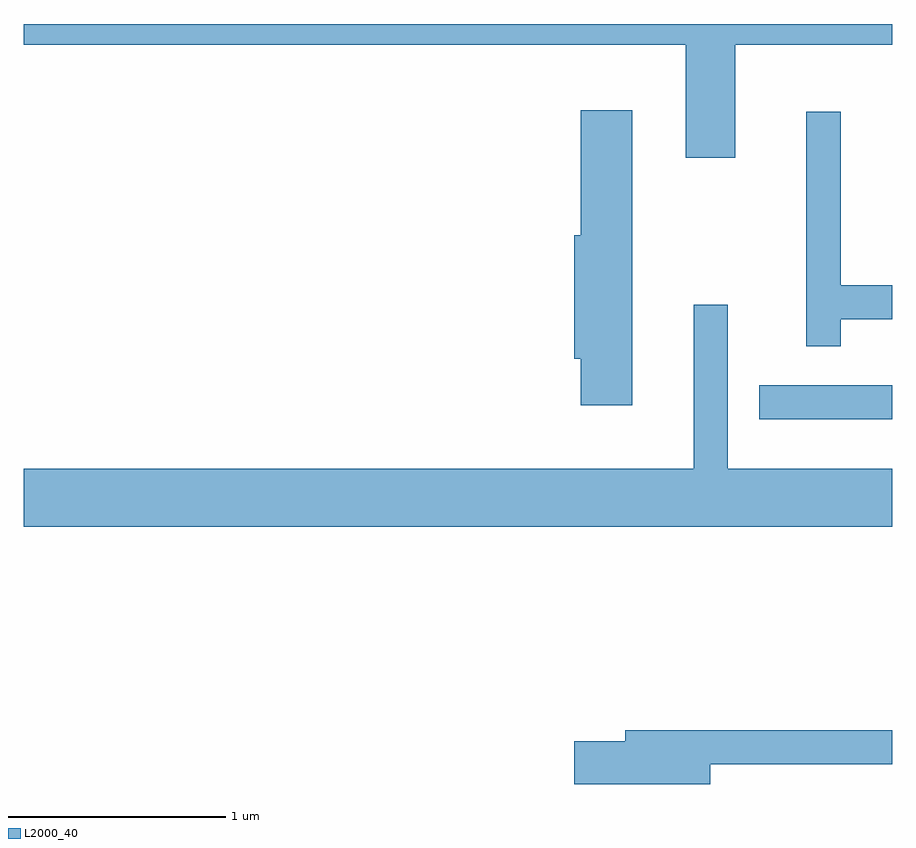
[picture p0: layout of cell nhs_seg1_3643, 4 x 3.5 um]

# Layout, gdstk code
import gdstk
lib = gdstk.Library(unit=1e-6, precision=1e-09)
def R(c, l, rs):  # rectangles x0, y0, x1, y1
    for r in rs: c.add(gdstk.rectangle(r[:2], r[2:], *l))
def P(c, l, *ps):  # polygons
    for p in ps: c.add(gdstk.Polygon(p, *l))
L2000_40 = (2000, 40)

nhs_seg1_3643 = lib.new_cell('nhs_seg1_3643')
R(nhs_seg1_3643, L2000_40, [(298.998,857.891,299.611,858.049)])
P(nhs_seg1_3643, L2000_40, [(298.889,859.616),(299.611,859.616),(299.611,859.712),(295.611,859.712),(295.611,859.616),(298.661,859.616),(298.661,859.096),(298.889,859.096)],
  [(298.414,859.314),(298.176,859.314),(298.176,858.739),(298.146,858.739),(298.146,858.171),(298.176,858.171),(298.176,857.956),(298.414,857.956)],
  [(299.374,858.351),(299.611,858.351),(299.611,858.509),(299.374,858.509),(299.374,859.308),(299.216,859.308),(299.216,858.228),(299.374,858.228)],
  [(299.611,857.664),(298.854,857.664),(298.854,858.418),(298.696,858.418),(298.696,857.664),(295.611,857.664),(295.611,857.396),(299.611,857.396)],
  [(298.774,856.301),(299.611,856.301),(299.611,856.459),(298.381,856.459),(298.381,856.409),(298.146,856.409),(298.146,856.211),(298.774,856.211)])

lib.write_gds('nhs_seg1_3643.gds')
